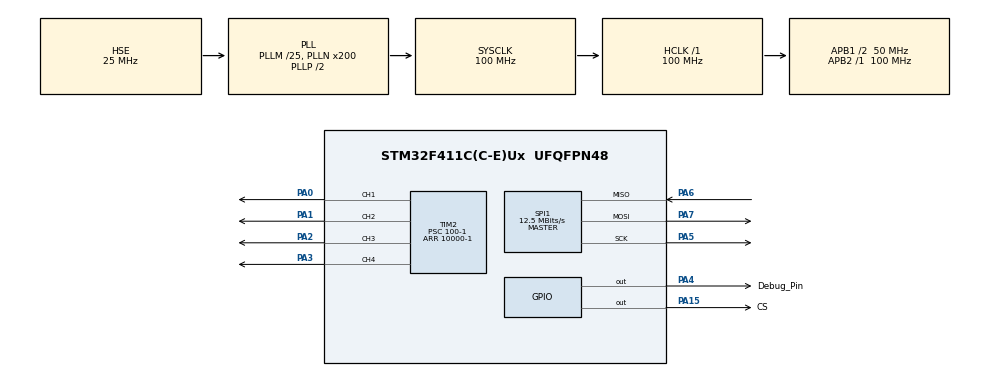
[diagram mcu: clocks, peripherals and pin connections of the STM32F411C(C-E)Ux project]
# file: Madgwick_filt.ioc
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Dma.Request0=SPI1_RX
Dma.Request1=SPI1_TX
Dma.SPI1_RX.0.Direction=DMA_PERIPH_TO_MEMORY
Dma.SPI1_RX.0.FIFOMode=DMA_FIFOMODE_DISABLE
Dma.SPI1_RX.0.Instance=DMA2_Stream0
Dma.SPI1_RX.0.MemDataAlignment=DMA_MDATAALIGN_BYTE
Dma.SPI1_RX.0.MemInc=DMA_MINC_ENABLE
Dma.SPI1_RX.0.Mode=DMA_NORMAL
Dma.SPI1_RX.0.PeriphDataAlignment=DMA_PDATAALIGN_BYTE
Dma.SPI1_RX.0.PeriphInc=DMA_PINC_DISABLE
Dma.SPI1_RX.0.Priority=DMA_PRIORITY_VERY_HIGH
Dma.SPI1_TX.1.Direction=DMA_MEMORY_TO_PERIPH
Dma.SPI1_TX.1.FIFOMode=DMA_FIFOMODE_DISABLE
Dma.SPI1_TX.1.Instance=DMA2_Stream3
Dma.SPI1_TX.1.MemDataAlignment=DMA_MDATAALIGN_BYTE
Dma.SPI1_TX.1.MemInc=DMA_MINC_ENABLE
Dma.SPI1_TX.1.Mode=DMA_NORMAL
Dma.SPI1_TX.1.PeriphDataAlignment=DMA_PDATAALIGN_BYTE
Dma.SPI1_TX.1.PeriphInc=DMA_PINC_DISABLE
Dma.SPI1_TX.1.Priority=DMA_PRIORITY_VERY_HIGH
Mcu.Family=STM32F4
Mcu.Name=STM32F411C(C-E)Ux
Mcu.Package=UFQFPN48
NVIC.DMA2_Stream0_IRQn=true\:0\:0\:false\:false\:true\:false\:true\:true
NVIC.DMA2_Stream3_IRQn=true\:0\:0\:false\:false\:true\:false\:true\:true
NVIC.PriorityGroup=NVIC_PRIORITYGROUP_4
NVIC.SPI1_IRQn=true\:0\:0\:false\:false\:true\:true\:true\:true
NVIC.TIM3_IRQn=true\:1\:0\:true\:false\:true\:true\:true\:true
PA0-WKUP.Signal=S_TIM2_CH1_ETR
PA1.Signal=S_TIM2_CH2
PA13.Mode=Serial_Wire
PA13.Signal=SYS_JTMS-SWDIO
PA14.Mode=Serial_Wire
PA14.Signal=SYS_JTCK-SWCLK
PA15.GPIO_Label=CS
PA15.GPIO_Speed=GPIO_SPEED_FREQ_HIGH
PA15.PinState=GPIO_PIN_SET
PA15.Signal=GPIO_Output
PA2.Signal=S_TIM2_CH3
PA3.Signal=S_TIM2_CH4
PA4.GPIO_Label=Debug_Pin
PA4.GPIO_Speed=GPIO_SPEED_FREQ_HIGH
PA4.Signal=GPIO_Output
PA5.Mode=Full_Duplex_Master
PA5.Signal=SPI1_SCK
PA6.Mode=Full_Duplex_Master
PA6.Signal=SPI1_MISO
PA7.Mode=Full_Duplex_Master
PA7.Signal=SPI1_MOSI
PC14-OSC32_IN.Mode=LSE-External-Oscillator
PC14-OSC32_IN.Signal=RCC_OSC32_IN
PC15-OSC32_OUT.Mode=LSE-External-Oscillator
PC15-OSC32_OUT.Signal=RCC_OSC32_OUT
PH0\ -\ OSC_IN.Mode=HSE-External-Oscillator
PH0\ -\ OSC_IN.Signal=RCC_OSC_IN
PH1\ -\ OSC_OUT.Mode=HSE-External-Oscillator
PH1\ -\ OSC_OUT.Signal=RCC_OSC_OUT
ProjectManager.HeapSize=0x200
ProjectManager.StackSize=0x400
ProjectManager.TargetToolchain=STM32CubeIDE
RCC.48MHZClocksFreq_Value=50000000
RCC.AHBFreq_Value=100000000
RCC.APB1CLKDivider=RCC_HCLK_DIV2
RCC.APB1Freq_Value=50000000
RCC.APB1TimFreq_Value=100000000
RCC.APB2Freq_Value=100000000
RCC.APB2TimFreq_Value=100000000
RCC.CortexFreq_Value=100000000
RCC.HCLKFreq_Value=100000000
RCC.HSE_VALUE=25000000
RCC.HSI_VALUE=16000000
RCC.PLLM=25
RCC.PLLN=200
RCC.PLLSourceVirtual=RCC_PLLSOURCE_HSE
RCC.SYSCLKFreq_VALUE=100000000
RCC.SYSCLKSource=RCC_SYSCLKSOURCE_PLLCLK
RCC.VCOOutputFreq_Value=200000000
SH.S_TIM2_CH1_ETR.0=TIM2_CH1,PWM Generation1 CH1
SH.S_TIM2_CH2.0=TIM2_CH2,PWM Generation2 CH2
SH.S_TIM2_CH3.0=TIM2_CH3,PWM Generation3 CH3
SH.S_TIM2_CH4.0=TIM2_CH4,PWM Generation4 CH4
SPI1.BaudRatePrescaler=SPI_BAUDRATEPRESCALER_8
SPI1.CLKPhase=SPI_PHASE_2EDGE
SPI1.CLKPolarity=SPI_POLARITY_HIGH
SPI1.CalculateBaudRate=12.5 MBits/s
SPI1.Direction=SPI_DIRECTION_2LINES
SPI1.Mode=SPI_MODE_MASTER
SPI1.VirtualType=VM_MASTER
TIM2.Channel-PWM\ Generation1\ CH1=TIM_CHANNEL_1
TIM2.Channel-PWM\ Generation2\ CH2=TIM_CHANNEL_2
TIM2.Channel-PWM\ Generation3\ CH3=TIM_CHANNEL_3
TIM2.Channel-PWM\ Generation4\ CH4=TIM_CHANNEL_4
TIM2.Period=10000-1
TIM2.Prescaler=100-1
TIM3.Period=1000-1
TIM3.Prescaler=100-1
VP_TIM2_VS_ClockSourceINT.Mode=Internal
VP_TIM3_VS_ClockSourceINT.Mode=Internal
board=custom

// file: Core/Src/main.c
/* USER CODE BEGIN Header */
/**
******************************************************************************
* @file : main.c
* @brief : Main program body
******************************************************************************
* @attention
*
* Copyright (c) 2026 STMicroelectronics.
* All rights reserved.
*
* This software is licensed under terms that can be found in the LICENSE file
* in the root directory of this software component.
* If no LICENSE file comes with this software, it is provided AS-IS.
*
******************************************************************************
*/
/* USER CODE END Header */
#include "main.h"

/* USER CODE BEGIN Includes */
#include "iir.h"
#include "mpu6500.h"
#include<math.h>
#include<stdio.h>
#include "MadgwickAHRS.h"
#include "pid.h"

/* USER CODE END Includes */

/* USER CODE BEGIN PTD */
typedef enum {
FLIGHT_IDLE,
FLIGHT_CLIMB,
FLIGHT_HOVER,
FLIGHT_LAND
} FlightState_t;
/* USER CODE END PTD */

/* USER CODE BEGIN PD */
#define sampling_freq 1000.0000000000f
#define cutoff_freq 30.0000000000f
#define ESC_MIN_PULSE 1000 // 1 ms = 0% throttle
#define ESC_MAX_PULSE 2000 // 2 ms = 100% throttle

// --- NEW TEST FLIGHT SETTINGS ---
#define HOVER_THROTTLE 1400.0f // Approx 35% throttle (Adjust for your weight!)
#define CLIMB_RATE 0.3f // Increases throttle by 0.5 every 10ms
#define LAND_RATE 0.2f // Decreases throttle by 0.3 every 10ms
/* USER CODE END PD */

SPI_HandleTypeDef hspi1;
DMA_HandleTypeDef hdma_spi1_rx;
DMA_HandleTypeDef hdma_spi1_tx;

TIM_HandleTypeDef htim2;
TIM_HandleTypeDef htim3;

/* USER CODE BEGIN PV */
static float esc_filtered[4] = {1000,1000,1000,1000};
#define OUTPUT_ALPHA 0.3f // Low-pass filter PWM

MPU6500_t mpu6500;
IIR_filter iir_a[3],iir_g[3];
PID pid_roll, pid_pitch;

float accel_f[3], gyro_f[3];

float pitch,roll;

float m1 = 0, m2 = 0, m3 = 0, m4 = 0;
volatile float throttle;
float setpoint_roll = 0.0f, setpoint_pitch = 0.0f;

FlightState_t current_state = FLIGHT_IDLE;
uint32_t state_start_time = 0;
/* USER CODE END PV */

void SystemClock_Config(void);
static void MX_GPIO_Init(void);
static void MX_DMA_Init(void);
static void MX_SPI1_Init(void);
static void MX_TIM3_Init(void);
static void MX_TIM2_Init(void);
/* USER CODE BEGIN PFP */
float constrain(float value, float min, float max);

void set_esc_speed1(uint16_t pulse_us)
{
// Constrain the value between min and max
if(pulse_us < ESC_MIN_PULSE) pulse_us = ESC_MIN_PULSE;
if(pulse_us > ESC_MAX_PULSE) pulse_us = ESC_MAX_PULSE;

__HAL_TIM_SET_COMPARE(&htim2, TIM_CHANNEL_1, pulse_us);
}

void set_esc_speed2(uint16_t pulse_us)
{
// Constrain the value between min and max
if(pulse_us < ESC_MIN_PULSE) pulse_us = ESC_MIN_PULSE;
if(pulse_us > ESC_MAX_PULSE) pulse_us = ESC_MAX_PULSE;

__HAL_TIM_SET_COMPARE(&htim2, TIM_CHANNEL_2, pulse_us);
}

void set_esc_speed3(uint16_t pulse_us)
{
// Constrain the value between min and max
if(pulse_us < ESC_MIN_PULSE) pulse_us = ESC_MIN_PULSE;
if(pulse_us > ESC_MAX_PULSE) pulse_us = ESC_MAX_PULSE;

__HAL_TIM_SET_COMPARE(&htim2, TIM_CHANNEL_3, pulse_us);
}

void set_esc_speed4(uint16_t pulse_us)
{
// Constrain the value between min and max
if(pulse_us < ESC_MIN_PULSE) pulse_us = ESC_MIN_PULSE;
if(pulse_us > ESC_MAX_PULSE) pulse_us = ESC_MAX_PULSE;

__HAL_TIM_SET_COMPARE(&htim2, TIM_CHANNEL_4, pulse_us);
}

/* USER CODE END PFP */

int main(void)
{

  /* MCU Configuration--------------------------------------------------------*/

  /* Reset of all peripherals, Initializes the Flash interface and the Systick. */
  HAL_Init();

  /* Configure the system clock */
  SystemClock_Config();

  /* Initialize all configured peripherals */
  MX_GPIO_Init();
  MX_DMA_Init();
  MX_SPI1_Init();
  MX_TIM3_Init();
  MX_TIM2_Init();
  /* USER CODE BEGIN 2 */

if(MPU6500_Init(&mpu6500, &hspi1, CS_GPIO_Port, CS_Pin) != HAL_OK){
while(1){
HAL_Delay(1000);
}
}
MPU6500_CalibrateGyro(&mpu6500,1000);

for(int i = 0; i < 3; i++) {
IIR_Init(&iir_a[i], cutoff_freq, sampling_freq);
IIR_Init(&iir_g[i], cutoff_freq, sampling_freq);
}

mpu6500.dma_transfer_complete = true;

// Initialize cascaded PIDs (tune these values)
PID_Init(&pid_roll);
pid_roll.Kp = 1.4153f, pid_roll.Ki = 0.0f, pid_roll.Kd = 0.0f;//1.4153
pid_roll.Tau = 0.02f;
pid_roll.maxlim = 400.0f, pid_roll.minlim = -400.0f;

PID_Init(&pid_pitch);
pid_pitch.Kp = 1.4153f, pid_pitch.Ki = 0.0f, pid_pitch.Kd =0.0f;
pid_pitch.Tau = 0.02f;
pid_pitch.maxlim = 400.0f, pid_pitch.minlim = -400.0f;

HAL_TIM_PWM_Start(&htim2, TIM_CHANNEL_1);
HAL_TIM_PWM_Start(&htim2, TIM_CHANNEL_2);
HAL_TIM_PWM_Start(&htim2, TIM_CHANNEL_3);
HAL_TIM_PWM_Start(&htim2, TIM_CHANNEL_4);

set_esc_speed1(ESC_MIN_PULSE);
set_esc_speed2(ESC_MIN_PULSE);
set_esc_speed3(ESC_MIN_PULSE);
set_esc_speed4(ESC_MIN_PULSE);

// ESC Arming Sequence - VERY IMPORTANT
// Send minimum throttle for longer to ensure ESC is ready

HAL_Delay(8000);
HAL_TIM_Base_Start_IT(&htim3);
throttle = 1000;
  /* USER CODE END 2 */

  /* Infinite loop */
  /* USER CODE BEGIN WHILE */
while (1)
{
if (fabs(roll) > 30.0f || fabs(pitch) > 30.0f) {
throttle = 1000.0f; // Instant 0% throttle
current_state = FLIGHT_IDLE; // Reset state machine
state_start_time = 0; // Reset timer
while(1){
	HAL_Delay(10);
}
}

switch (current_state) {
case FLIGHT_IDLE:
throttle = 1000.0f;

// Initial start after 13s (to let gyro calibrate and you to step back)
// Then wait 10s between subsequent flights
if (state_start_time == 0) {
if (HAL_GetTick() > 10000) {
current_state = FLIGHT_CLIMB;
}
} else {
if (HAL_GetTick() - state_start_time > 10000) {
current_state = FLIGHT_CLIMB;
}
}
break;

case FLIGHT_CLIMB:
// Smoothly ramp up throttle
if (throttle < HOVER_THROTTLE) {
throttle += CLIMB_RATE;
} else {
// Target reached, switch to Hover
current_state = FLIGHT_HOVER;
state_start_time = HAL_GetTick();
}
break;

case FLIGHT_HOVER:
throttle = HOVER_THROTTLE;
// Hold altitude for 5 seconds
if (HAL_GetTick() - state_start_time > 15000) {
current_state = FLIGHT_LAND;
}
break;

case FLIGHT_LAND:
// Smoothly ramp down
if (throttle > 1000.0f) {
throttle -= LAND_RATE;
} else {
// Landed
throttle = 1000.0f;
current_state = FLIGHT_IDLE;
state_start_time = HAL_GetTick(); // Mark time of landing
}
break;
}

// This ensures CLIMB_RATE adds up smoothly over time
HAL_Delay(10);
    /* USER CODE END WHILE */

}
}

void SystemClock_Config(void)
{
  RCC_OscInitTypeDef RCC_OscInitStruct = {0};
  RCC_ClkInitTypeDef RCC_ClkInitStruct = {0};

  /** Configure the main internal regulator output voltage
  */
  __HAL_RCC_PWR_CLK_ENABLE();
  __HAL_PWR_VOLTAGESCALING_CONFIG(PWR_REGULATOR_VOLTAGE_SCALE1);

  /** Initializes the RCC Oscillators according to the specified parameters
  * in the RCC_OscInitTypeDef structure.
  */
  RCC_OscInitStruct.OscillatorType = RCC_OSCILLATORTYPE_HSE;
  RCC_OscInitStruct.HSEState = RCC_HSE_ON;
  RCC_OscInitStruct.PLL.PLLState = RCC_PLL_ON;
  RCC_OscInitStruct.PLL.PLLSource = RCC_PLLSOURCE_HSE;
  RCC_OscInitStruct.PLL.PLLM = 25;
  RCC_OscInitStruct.PLL.PLLN = 200;
  RCC_OscInitStruct.PLL.PLLP = RCC_PLLP_DIV2;
  RCC_OscInitStruct.PLL.PLLQ = 4;
  if (HAL_RCC_OscConfig(&RCC_OscInitStruct) != HAL_OK)
  {
    Error_Handler();
  }

  /** Initializes the CPU, AHB and APB buses clocks
  */
  RCC_ClkInitStruct.ClockType = RCC_CLOCKTYPE_HCLK|RCC_CLOCKTYPE_SYSCLK
                              |RCC_CLOCKTYPE_PCLK1|RCC_CLOCKTYPE_PCLK2;
  RCC_ClkInitStruct.SYSCLKSource = RCC_SYSCLKSOURCE_PLLCLK;
  RCC_ClkInitStruct.AHBCLKDivider = RCC_SYSCLK_DIV1;
  RCC_ClkInitStruct.APB1CLKDivider = RCC_HCLK_DIV2;
  RCC_ClkInitStruct.APB2CLKDivider = RCC_HCLK_DIV1;

  if (HAL_RCC_ClockConfig(&RCC_ClkInitStruct, FLASH_LATENCY_3) != HAL_OK)
  {
    Error_Handler();
  }
}

static void MX_SPI1_Init(void)
{

  /* SPI1 parameter configuration*/
  hspi1.Instance = SPI1;
  hspi1.Init.Mode = SPI_MODE_MASTER;
  hspi1.Init.Direction = SPI_DIRECTION_2LINES;
  hspi1.Init.DataSize = SPI_DATASIZE_8BIT;
  hspi1.Init.CLKPolarity = SPI_POLARITY_HIGH;
  hspi1.Init.CLKPhase = SPI_PHASE_2EDGE;
  hspi1.Init.NSS = SPI_NSS_SOFT;
  hspi1.Init.BaudRatePrescaler = SPI_BAUDRATEPRESCALER_8;
  hspi1.Init.FirstBit = SPI_FIRSTBIT_MSB;
  hspi1.Init.TIMode = SPI_TIMODE_DISABLE;
  hspi1.Init.CRCCalculation = SPI_CRCCALCULATION_DISABLE;
  hspi1.Init.CRCPolynomial = 10;
  if (HAL_SPI_Init(&hspi1) != HAL_OK)
  {
    Error_Handler();
  }

}

static void MX_TIM2_Init(void)
{

  TIM_ClockConfigTypeDef sClockSourceConfig = {0};
  TIM_MasterConfigTypeDef sMasterConfig = {0};
  TIM_OC_InitTypeDef sConfigOC = {0};

  htim2.Instance = TIM2;
  htim2.Init.Prescaler = 100-1;
  htim2.Init.CounterMode = TIM_COUNTERMODE_UP;
  htim2.Init.Period = 10000-1;
  htim2.Init.ClockDivision = TIM_CLOCKDIVISION_DIV1;
  htim2.Init.AutoReloadPreload = TIM_AUTORELOAD_PRELOAD_DISABLE;
  if (HAL_TIM_Base_Init(&htim2) != HAL_OK)
  {
    Error_Handler();
  }
  sClockSourceConfig.ClockSource = TIM_CLOCKSOURCE_INTERNAL;
  if (HAL_TIM_ConfigClockSource(&htim2, &sClockSourceConfig) != HAL_OK)
  {
    Error_Handler();
  }
  if (HAL_TIM_PWM_Init(&htim2) != HAL_OK)
  {
    Error_Handler();
  }
  sMasterConfig.MasterOutputTrigger = TIM_TRGO_RESET;
  sMasterConfig.MasterSlaveMode = TIM_MASTERSLAVEMODE_DISABLE;
  if (HAL_TIMEx_MasterConfigSynchronization(&htim2, &sMasterConfig) != HAL_OK)
  {
    Error_Handler();
  }
  sConfigOC.OCMode = TIM_OCMODE_PWM1;
  sConfigOC.Pulse = 0;
  sConfigOC.OCPolarity = TIM_OCPOLARITY_HIGH;
  sConfigOC.OCFastMode = TIM_OCFAST_DISABLE;
  if (HAL_TIM_PWM_ConfigChannel(&htim2, &sConfigOC, TIM_CHANNEL_1) != HAL_OK)
  {
    Error_Handler();
  }
  if (HAL_TIM_PWM_ConfigChannel(&htim2, &sConfigOC, TIM_CHANNEL_2) != HAL_OK)
  {
    Error_Handler();
  }
  if (HAL_TIM_PWM_ConfigChannel(&htim2, &sConfigOC, TIM_CHANNEL_3) != HAL_OK)
  {
    Error_Handler();
  }
  if (HAL_TIM_PWM_ConfigChannel(&htim2, &sConfigOC, TIM_CHANNEL_4) != HAL_OK)
  {
    Error_Handler();
  }
  HAL_TIM_MspPostInit(&htim2);

}

static void MX_TIM3_Init(void)
{

  TIM_ClockConfigTypeDef sClockSourceConfig = {0};
  TIM_MasterConfigTypeDef sMasterConfig = {0};

  htim3.Instance = TIM3;
  htim3.Init.Prescaler = 100-1;
  htim3.Init.CounterMode = TIM_COUNTERMODE_UP;
  htim3.Init.Period = 1000-1;
  htim3.Init.ClockDivision = TIM_CLOCKDIVISION_DIV1;
  htim3.Init.AutoReloadPreload = TIM_AUTORELOAD_PRELOAD_DISABLE;
  if (HAL_TIM_Base_Init(&htim3) != HAL_OK)
  {
    Error_Handler();
  }
  sClockSourceConfig.ClockSource = TIM_CLOCKSOURCE_INTERNAL;
  if (HAL_TIM_ConfigClockSource(&htim3, &sClockSourceConfig) != HAL_OK)
  {
    Error_Handler();
  }
  sMasterConfig.MasterOutputTrigger = TIM_TRGO_RESET;
  sMasterConfig.MasterSlaveMode = TIM_MASTERSLAVEMODE_DISABLE;
  if (HAL_TIMEx_MasterConfigSynchronization(&htim3, &sMasterConfig) != HAL_OK)
  {
    Error_Handler();
  }

}

static void MX_DMA_Init(void)
{

  /* DMA controller clock enable */
  __HAL_RCC_DMA2_CLK_ENABLE();

  /* DMA interrupt init */
  /* DMA2_Stream0_IRQn interrupt configuration */
  HAL_NVIC_SetPriority(DMA2_Stream0_IRQn, 0, 0);
  HAL_NVIC_EnableIRQ(DMA2_Stream0_IRQn);
  /* DMA2_Stream3_IRQn interrupt configuration */
  HAL_NVIC_SetPriority(DMA2_Stream3_IRQn, 0, 0);
  HAL_NVIC_EnableIRQ(DMA2_Stream3_IRQn);

}

static void MX_GPIO_Init(void)
{
  GPIO_InitTypeDef GPIO_InitStruct = {0};

  /* GPIO Ports Clock Enable */
  __HAL_RCC_GPIOC_CLK_ENABLE();
  __HAL_RCC_GPIOH_CLK_ENABLE();
  __HAL_RCC_GPIOA_CLK_ENABLE();

  /*Configure GPIO pin Output Level */
  HAL_GPIO_WritePin(Debug_Pin_GPIO_Port, Debug_Pin_Pin, GPIO_PIN_RESET);

  /*Configure GPIO pin Output Level */
  HAL_GPIO_WritePin(CS_GPIO_Port, CS_Pin, GPIO_PIN_SET);

  /*Configure GPIO pins : Debug_Pin_Pin CS_Pin */
  GPIO_InitStruct.Pin = Debug_Pin_Pin|CS_Pin;
  GPIO_InitStruct.Mode = GPIO_MODE_OUTPUT_PP;
  GPIO_InitStruct.Pull = GPIO_NOPULL;
  GPIO_InitStruct.Speed = GPIO_SPEED_FREQ_HIGH;
  HAL_GPIO_Init(GPIOA, &GPIO_InitStruct);

}

/* USER CODE BEGIN 4 */
void HAL_SPI_TxRxCpltCallback(SPI_HandleTypeDef *hspi) {
if(hspi->Instance == SPI1) {
// End CS HIGH
HAL_GPIO_WritePin(CS_GPIO_Port, CS_Pin, GPIO_PIN_SET);

//Debug pin
HAL_GPIO_WritePin(Debug_Pin_GPIO_Port, Debug_Pin_Pin, GPIO_PIN_SET);

// Parse raw DMA data
MPU6500_DMA_Complete_Callback(&mpu6500);

// Convert to engineering units (g, rad/s)
mpu6500.accel_g[0] = (float)mpu6500.accel_raw[0] / mpu6500.accel_scale;
mpu6500.accel_g[1] = (float)mpu6500.accel_raw[1] / mpu6500.accel_scale;
mpu6500.accel_g[2] = (float)mpu6500.accel_raw[2] / mpu6500.accel_scale;

mpu6500.gyro_dps[0] = ((float)mpu6500.gyro_raw[0] / mpu6500.gyro_scale) - mpu6500.gyro_bias[0];
mpu6500.gyro_dps[1] = ((float)mpu6500.gyro_raw[1] / mpu6500.gyro_scale) - mpu6500.gyro_bias[1];
mpu6500.gyro_dps[2] = ((float)mpu6500.gyro_raw[2] / mpu6500.gyro_scale) - mpu6500.gyro_bias[2];

mpu6500.gyro_rad[0] = mpu6500.gyro_dps[0] * 0.017453292f; // deg_to_rad
mpu6500.gyro_rad[1] = mpu6500.gyro_dps[1] * 0.017453292f;
mpu6500.gyro_rad[2] = mpu6500.gyro_dps[2] * 0.017453292f;

// Apply IIR filtering
for(int i = 0; i < 3; i++){
accel_f[i] = IIR_Update(&iir_a[i], mpu6500.accel_g[i]);
gyro_f[i] = IIR_Update(&iir_g[i], mpu6500.gyro_rad[i]);
}

// Update orientation filter
MadgwickAHRSupdateIMU(gyro_f[0], gyro_f[1], gyro_f[2],
accel_f[0], accel_f[1], accel_f[2]);

roll = atan2f(2.0f*(q0*q1 + q2*q3), 1.0f - 2.0f*(q1*q1 + q2*q2)) * 57.2958f;
pitch = asinf(-2.0f*(q1*q3 - q0*q2)) * 57.2958f;

// Mark ready for next cycle
mpu6500.dma_transfer_complete = true;

// SINGLE-LOOP PID: Angle error → PWM directly
float pid_out_roll = PID_Update(&pid_roll, setpoint_roll, roll);
float pid_out_pitch = PID_Update(&pid_pitch, setpoint_pitch, pitch);

// Motor mixing (unchanged)
m1 = throttle + pid_out_roll - pid_out_pitch;//front - left
m2 = throttle - pid_out_roll - pid_out_pitch;//front-right
m3 = throttle - pid_out_roll + pid_out_pitch;//rear-right
m4 = throttle + pid_out_roll + pid_out_pitch;//rear-left

esc_filtered[0] = OUTPUT_ALPHA * m1 + (1.0f - OUTPUT_ALPHA) * esc_filtered[0];
esc_filtered[1] = OUTPUT_ALPHA * m2 + (1.0f - OUTPUT_ALPHA) * esc_filtered[1];
esc_filtered[2] = OUTPUT_ALPHA * m3 + (1.0f - OUTPUT_ALPHA) * esc_filtered[2];
esc_filtered[3] = OUTPUT_ALPHA * m4 + (1.0f - OUTPUT_ALPHA) * esc_filtered[3];

// Output to ESCs (unchanged)
set_esc_speed1((uint16_t)constrain(m1, 1000, 2000));
set_esc_speed2((uint16_t)constrain(m2, 1000, 2000));
set_esc_speed3((uint16_t)constrain(m3, 1000, 2000));
set_esc_speed4((uint16_t)constrain(m4, 1000, 2000));

HAL_GPIO_WritePin(Debug_Pin_GPIO_Port, Debug_Pin_Pin, GPIO_PIN_RESET);
}
}

void HAL_TIM_PeriodElapsedCallback(TIM_HandleTypeDef *htim){
if(htim->Instance == TIM3){
// Only trigger new DMA read if previous one is complete
if(mpu6500.dma_transfer_complete == true){
MPU6500_ReadRaw_DMA(&mpu6500); // Non-blocking!
mpu6500.dma_transfer_complete = false;
}
// If DMA busy, skip this cycle (no overflow)
}
}

/* Add this to main.c */

void HAL_SPI_ErrorCallback(SPI_HandleTypeDef *hspi) {
if(hspi->Instance == SPI1) {
// 1. Force CS HIGH (release the MPU6500)
HAL_GPIO_WritePin(CS_GPIO_Port, CS_Pin, GPIO_PIN_SET);

// 2. Clear the 'Busy' flag so the loop can try again next time
mpu6500.dma_transfer_complete = true;

// Optional: Toggle the Debug Pin to see on logic analyzer/scope
HAL_GPIO_TogglePin(Debug_Pin_GPIO_Port, Debug_Pin_Pin);
}
}

float constrain(float value, float min, float max) {
if(value < min) return min;
if(value > max) return max;
return value;
}

/* USER CODE END 4 */

void Error_Handler(void)
{
__disable_irq();
while (1)
{
}
}
